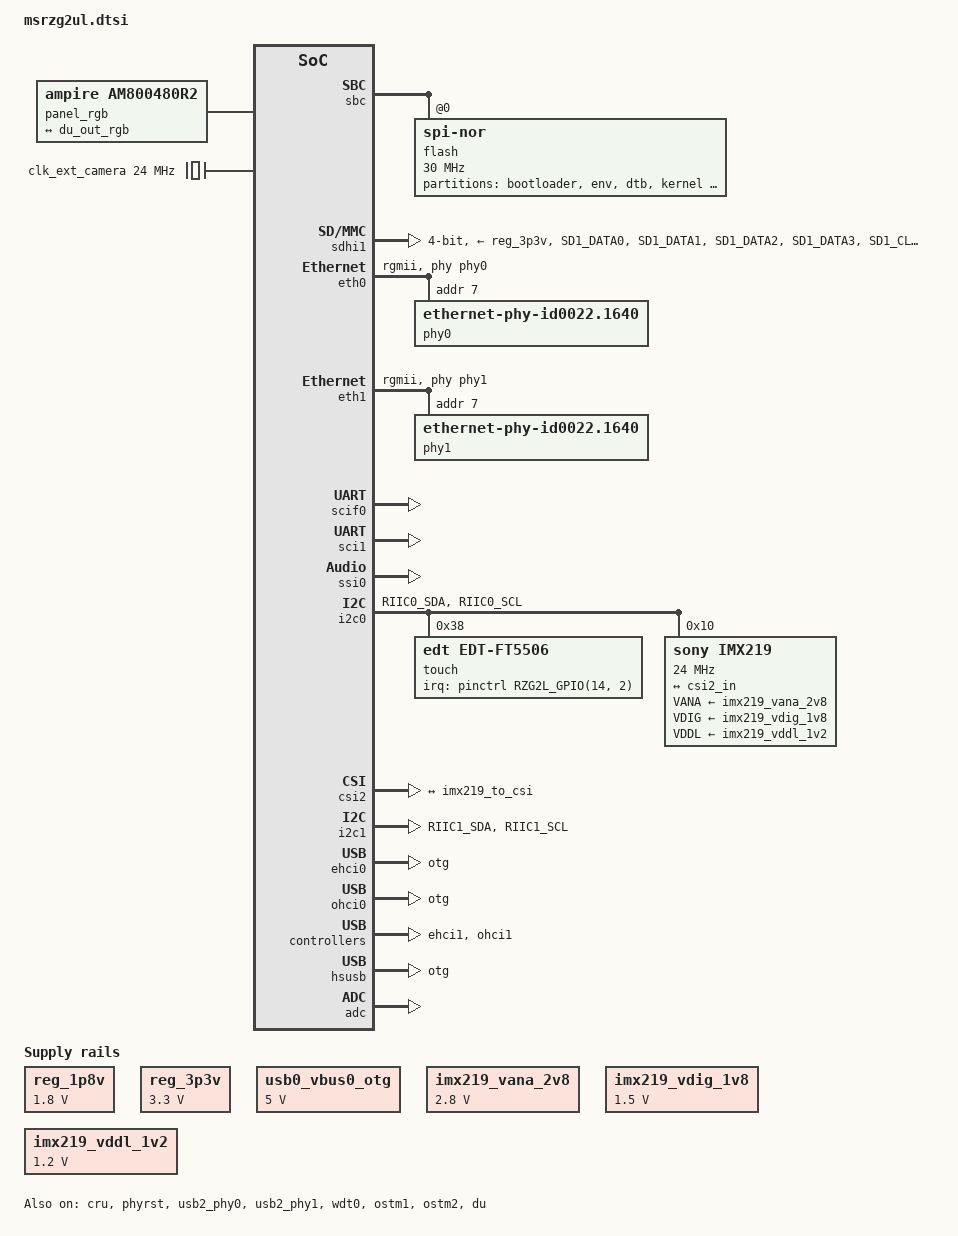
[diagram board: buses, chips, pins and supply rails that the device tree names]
// SPDX-License-Identifier: GPL-2.0
/*
 * Device Tree Source for the MSRZG2UL Single A55 OSM common parts
 *
 * Copyright (C) 2021 Renesas Electronics Corp.
 * Copyright (C) 2023 ARIES Embedded
 */

#include <dt-bindings/pinctrl/rzg2l-pinctrl.h>
#include <dt-bindings/gpio/gpio.h>

/* NOTE: Define as 1 to use hardware Trigger via GPIOA_7 */
#define GPIOA_7_ADC_TRG	0

/ {
	aliases {
		serial0 = &scif0;
		serial1 = &scif1;
		ethernet0 = &eth0;
		ethernet1 = &eth1;
		mmc0 = &sdhi0;
		mmc1 = &sdhi1;
		i2c0 = &i2c0;
		i2c1 = &i2c1;
	};

	chosen {
		bootargs = "ignore_loglevel";
		stdout-path = "serial0:115200n8";
	};

        //backlight: backlight {
        //        compatible = "pwm-backlight";
	//	//pinctrl-0 = <&bl_pins>;
	//	//pinctrl-names = "default";
        //        //pwms = <&mtu3 0 50000>;
        //        //brightness-levels = <0 4 8 16 32 64 128 255>;
        //        //default-brightness-level = <6>;
        //};

	panel_rgb: panel-rgb {
		compatible = "ampire,am800480r2";
		//backlight = <&backlight>;

		port {
			panel_in_rgb: endpoint {
				remote-endpoint = <&du_out_rgb>;
			};
		};
	};

	//mmngr {
	//	compatible = "renesas,mmngr";
	//	memory-region = <&mmp_reserved>;
	//};
	//
	//mmngrbuf {
	//	compatible = "renesas,mmngrbuf";
	//};

	vspm_if {
		compatible = "renesas,vspm_if";
	};

	reg_1p8v: regulator0 {
		compatible = "regulator-fixed";

		regulator-name = "fixed-1.8V";
		regulator-min-microvolt = <1800000>;
		regulator-max-microvolt = <1800000>;
		regulator-boot-on;
		regulator-always-on;
	};

	reg_3p3v: regulator1 {
		compatible = "regulator-fixed";

		regulator-name = "fixed-3.3V";
		regulator-min-microvolt = <3300000>;
		regulator-max-microvolt = <3300000>;
		regulator-boot-on;
		regulator-always-on;
	};

	usb0_vbus0_otg: regulator-vbus0-usb2 {
		compatible = "regulator-fixed";

		regulator-name = "USB20_OTG_VBUS";
		regulator-min-microvolt = <5000000>;
		regulator-max-microvolt = <5000000>;
	};

	imx219_vana_2v8: 2p8v {
		compatible = "regulator-fixed";
		regulator-name = "camera_vana";
		regulator-min-microvolt = <2800000>;
		regulator-max-microvolt = <2800000>;
		regulator-always-on;
	};

	imx219_vdig_1v8: 1p8v {
		compatible = "regulator-fixed";
		regulator-name = "camera_vdig";
		regulator-min-microvolt = <1500000>;
		regulator-max-microvolt = <1500000>;
		regulator-always-on;
	};

	imx219_vddl_1v2: 1p2v {
		compatible = "regulator-fixed";
		regulator-name = "camera_vddl";
		regulator-min-microvolt = <1200000>;
		regulator-max-microvolt = <1200000>;
		regulator-always-on;
	};

	clk_ext_camera: clk_ext_camera {
		compatible = "fixed-clock";
		#clock-cells = <0>;
		clock-frequency = <24000000>;
	};
};

&extal_clk {
	clock-frequency = <24000000>;
};

/* Audio clock frequency configuration - SSI0 requires non-zero frequencies */
&audio_clk1 {
	clock-frequency = <12288000>;  /* 48kHz * 256 for audio I2S */
};

&audio_clk2 {
	clock-frequency = <11289600>;  /* 44.1kHz * 256 for audio I2S */
};

&sbc {
	status = "okay";

	flash@0 {
		compatible = "jedec,spi-nor";
		reg = <0>;
		spi-max-frequency = <30000000>;

		spi-tx-bus-width = <4>;
		spi-rx-bus-width = <4>;

		/* SPI Mode 3 */
		spi-cpol;
		spi-cpha;
		m25p,fast-read;

		partitions {
			compatible = "fixed-partitions";
			#address-cells = <2>;
			#size-cells = <2>;

			partition@0000000 {
				label = "bootloader";
				reg = <0 0x00000000 0 0x00100000>;
			};
			partition@100000 {
				label = "env";
				reg = <0 0x00100000 0 0x00020000>;
			};
			partition@120000 {
				label = "dtb";
				reg = <0 0x00120000 0 0x00020000>;
			};
			partition@140000 {
				label = "kernel";
				reg = <0 0x00140000 0 0x00600000>;
			};
			partition@740000 {
				label = "ramdisk";
				reg = <0 0x00740000 0 0x008C0000>;
			};
		};
	};
};

&sdhi1 {
	pinctrl-0 = <&sdhi1_pins>;
	pinctrl-1 = <&sdhi1_pins>;
	pinctrl-names = "default", "state_uhs";

	vmmc-supply = <&reg_3p3v>;
	vqmmc-supply = <&reg_3p3v>;

	bus-width = <4>;
	status = "okay";
};

&eth0 {
	pinctrl-0 = <&ether0_pins>;
	pinctrl-names = "default";
	phy-handle = <&phy0>;
	phy-mode = "rgmii";
	status = "okay";

	phy0: ethernet-phy@7 {
		compatible = "ethernet-phy-id0022.1640",
				"ethernet-phy-ieee802.3-c22";
		reg = <7>;
		rxc-skew-psec = <2400>;
		txc-skew-psec = <2400>;
		rxdv-skew-psec = <0>;
		txdv-skew-psec = <0>;
		rxd0-skew-psec = <0>;
		rxd1-skew-psec = <0>;
		rxd2-skew-psec = <0>;
		rxd3-skew-psec = <0>;
		txd0-skew-psec = <0>;
		txd1-skew-psec = <0>;
		txd2-skew-psec = <0>;
		txd3-skew-psec = <0>;
	};
};

&eth1 {
	pinctrl-0 = <&ether1_pins>;
	pinctrl-names = "default";
	phy-handle = <&phy1>;
	phy-mode = "rgmii";
	status = "okay";

	phy1: ethernet-phy@7 {
		compatible = "ethernet-phy-id0022.1640",
				"ethernet-phy-ieee802.3-c22";
		reg = <7>;
		rxc-skew-psec = <2400>;
		txc-skew-psec = <2400>;
		rxdv-skew-psec = <0>;
		txdv-skew-psec = <0>;
		rxd0-skew-psec = <0>;
		rxd1-skew-psec = <0>;
		rxd2-skew-psec = <0>;
		rxd3-skew-psec = <0>;
		txd0-skew-psec = <0>;
		txd1-skew-psec = <0>;
		txd2-skew-psec = <0>;
		txd3-skew-psec = <0>;
	};
};

&scif0 {
	pinctrl-0 = <&scif0_pins>;
	pinctrl-names = "default";
	status = "okay";
};

&scif1 {
	pinctrl-0 = <&scif1_pins>;
	pinctrl-names = "default";
	status = "disabled";
};

&sci1 {
	pinctrl-0 = <&sci1_pins>;
	pinctrl-names = "default";
	status = "okay";
};

&ssi0 {
	pinctrl-0 = <&ssi0_pins>;
	pinctrl-names = "default";
	status = "okay";
};

&i2c0 {
	pinctrl-0 = <&i2c0_pins>;
	pinctrl-names = "default";
	status = "okay";

	touch: ft5426@38 {
		compatible = "edt,edt-ft5506";
		reg = <0x38>;
		//pinctrl-0 = <&touch_pins>;
		//pinctrl-names = "default";
		interrupt-parent = <&pinctrl>;
		interrupts = <RZG2L_GPIO(14, 2) IRQ_TYPE_EDGE_FALLING>; /* P14_2 */
		touchscreen-size-x = <800>;
		touchscreen-size-y = <480>;
		status = "okay";
	};

	imx219: camera@10 {
		compatible = "sony,imx219";
		reg = <0x10>;
		clock-names = "xclk";
		clocks = <&clk_ext_camera>;
		clock-frequency = <24000000>;
		VANA-supply = <&imx219_vana_2v8>;
		VDIG-supply = <&imx219_vdig_1v8>;
		VDDL-supply = <&imx219_vddl_1v2>;

		port {
			imx219_to_csi: endpoint {
				clock-lanes = <0>;
				data-lanes = <1 2>;
				link-frequencies = /bits/ 64 <456000000>;
				remote-endpoint = <&csi2_in>;
			};
		};
	};
};


&cru {
	status = "okay";
};

&csi2 {
	status = "okay";

	ports {
		port@0 {
			reg = <0>;
			csi2_in: endpoint {
				clock-lanes = <0>;
				data-lanes = <1 2>;
				remote-endpoint = <&imx219_to_csi>;
			};
		};
	};
};

&i2c1 {
	pinctrl-0 = <&i2c1_pins>;
	pinctrl-names = "default";
	status = "okay";
};

&ehci0 {
	dr_mode = "otg";
	status = "okay";
};

&ohci0 {
	dr_mode = "otg";
	status = "okay";
};

&ehci1 {
	status = "okay";
};

&ohci1 {
	status = "okay";
};

&hsusb {
	dr_mode = "otg";
	status = "okay";
};

&phyrst {
	status = "okay";
};

&usb2_phy0 {
	pinctrl-0 = <&usb0_pins>;
	pinctrl-names = "default";
	vbus-supply = <&usb0_vbus0_otg>;
	status = "okay";
};

&usb2_phy1 {
	pinctrl-0 = <&usb1_pins>;
	pinctrl-names = "default";
	status = "okay";
};

&adc {
#if GPIOA_7_ADC_TRG
	pinctrl-0 = <&adc_pins>;
	pinctrl-names = "default";
#endif
	status = "okay";
};

//&mtu3 {
//	pinctrl-0 = <&mtu3_pins>;
//	pinctrl-names = "default";
//	status = "okay";
//
//	pwm_mode1 = <2 0>;
//};

&wdt0 {
	status = "okay";
	timeout-sec = <60>;
};

&ostm1 {
	status = "okay";
};

&ostm2 {
	status = "okay";
};

&du {
	pinctrl-0 = <&du_pins>;
	pinctrl-names = "default";
	status = "okay";

	ports {
		port@0 {
			du_out_rgb: endpoint {
				remote-endpoint = <&panel_in_rgb>;
			};
		};
	};
};

&pinctrl {
	//sd1_pwr_en {
	//	gpio-hog;
	//	gpios = <RZG2L_GPIO(11, 2) GPIO_ACTIVE_HIGH>;
	//	output-high;
	//	line-name = "sd1_pwr_en";
	//};

	sdhi1_pins: sd1 {
		sd1_data {
			pins =	"SD1_DATA0", "SD1_DATA1", "SD1_DATA2",
				"SD1_DATA3";
			power-source  = <3300>;
		};

		sd1_ctrl {
			pins = "SD1_CLK", "SD1_CMD";
			power-source  = <3300>;
		};

		sd1_mux {
			pinmux = <RZG2L_PORT_PINMUX(0, 2, 1)>; /* SD1_CD */
		};
	};

	ether0_pins: eth0 {
		pinmux =
			<RZG2L_PORT_PINMUX(1, 0, 1)>, /* M2 ET0_TXC */
			<RZG2L_PORT_PINMUX(1, 1, 1)>, /* M1 ET0_TX_CTL */
			<RZG2L_PORT_PINMUX(1, 2, 1)>, /* L1 ET0_TXD0 */
			<RZG2L_PORT_PINMUX(1, 3, 1)>, /* L2 ET0_TXD1 */
			<RZG2L_PORT_PINMUX(1, 4, 1)>, /* K1 ET0_TXD2 */
			<RZG2L_PORT_PINMUX(2, 0, 1)>, /* K2 ET0_TXD3 */
			<RZG2L_PORT_PINMUX(2, 1, 1)>, /* K6 ET0_TX_ERR */
			<RZG2L_PORT_PINMUX(2, 2, 1)>, /* M3* ET0_TX_COL */
			<RZG2L_PORT_PINMUX(2, 3, 1)>, /* M6* ET0_TX_CRS */
			<RZG2L_PORT_PINMUX(3, 0, 1)>, /* N3 ET0_RXC */
			<RZG2L_PORT_PINMUX(3, 1, 1)>, /* N1 ET0_RX_CTL */
			<RZG2L_PORT_PINMUX(3, 2, 1)>, /* P2 ET0_RXD0 */
			<RZG2L_PORT_PINMUX(3, 3, 1)>, /* R3 ET0_RXD1 */
			<RZG2L_PORT_PINMUX(4, 0, 1)>, /* R2 ET0_RXD2 */
			<RZG2L_PORT_PINMUX(4, 1, 1)>, /* R1 ET0_RXD3 */
			<RZG2L_PORT_PINMUX(4, 2, 1)>, /* N2 ET0_RX_ERR */
			<RZG2L_PORT_PINMUX(4, 3, 1)>, /* T3 ET0_MDC */
			<RZG2L_PORT_PINMUX(4, 4, 1)>, /* T2 ET0_MDIO */
			<RZG2L_PORT_PINMUX(4, 5, 1)>; /* P1 ET0_LINKSTA */
	};

	ether1_pins: eth1 {
		pinmux =
			<RZG2L_PORT_PINMUX(7, 0, 1)>, /* AE18 ET1_TXC */
			<RZG2L_PORT_PINMUX(7, 1, 1)>, /* AD17 ET1_TX_CTL */
			<RZG2L_PORT_PINMUX(7, 2, 1)>, /* AD16 ET1_TXD0 */
			<RZG2L_PORT_PINMUX(7, 3, 1)>, /* AE16 ET1_TXD1 */
			<RZG2L_PORT_PINMUX(7, 4, 1)>, /* AD15 ET1_TXD2 */
			<RZG2L_PORT_PINMUX(8, 0, 1)>, /* AE15 ET1_TXD3 */
			<RZG2L_PORT_PINMUX(8, 1, 1)>, /* AE17 ET1_TX_ERR */
			<RZG2L_PORT_PINMUX(8, 2, 1)>, /* AC16 ET1_TX_COL */
			<RZG2L_PORT_PINMUX(8, 3, 1)>, /* AC15 ET1_TX_CRS */
			<RZG2L_PORT_PINMUX(8, 4, 1)>, /* AC17 ET1_RXC */
			<RZG2L_PORT_PINMUX(9, 0, 1)>, /* AC18 ET1_RX_CTL */
			<RZG2L_PORT_PINMUX(9, 1, 1)>, /* AE19 ET1_RXD0 */
			<RZG2L_PORT_PINMUX(9, 2, 1)>, /* AD19 ET1_RXD1 */
			<RZG2L_PORT_PINMUX(9, 3, 1)>, /* AE20 ET1_RXD2 */
			<RZG2L_PORT_PINMUX(10, 0, 1)>, /* AD20 ET1_RXD3 */
			<RZG2L_PORT_PINMUX(10, 1, 1)>, /* AD18 ET1_RX_ERR */
			<RZG2L_PORT_PINMUX(10, 2, 1)>, /* AC20 ET1_MDC */
			<RZG2L_PORT_PINMUX(10, 3, 1)>, /* AE21 ET1_MDIO */
			<RZG2L_PORT_PINMUX(10, 4, 1)>; /* AC19 ET1_LINKSTA */
	};

	scif0_pins: scif0 {
		pinmux =
			<RZG2L_PORT_PINMUX(6, 3, 6)>, /* RxD */
			<RZG2L_PORT_PINMUX(6, 4, 6)>; /* TxD */
	};

	scif1_pins: scif1 {
		pinmux =
			<RZG2L_PORT_PINMUX(18, 4, 6)>, /* TxD */
			<RZG2L_PORT_PINMUX(18, 5, 6)>; /* RxD */
	};

	i2c0_pins: i2c0 {
		pins = "RIIC0_SDA", "RIIC0_SCL";
		input-enable;
	};

	i2c1_pins: i2c1 {
		pins = "RIIC1_SDA", "RIIC1_SCL";
		input-enable;
	};

	usb0_pins: usb0 {
		pinmux =
			<RZG2L_PORT_PINMUX(5, 0, 1)>, /* VBUS_EN */
			<RZG2L_PORT_PINMUX(5, 2, 1)>, /* OVC */
			<RZG2L_PORT_PINMUX(5, 3, 1)>; /* OTG_ID */
	};

	usb1_pins: usb1 {
		pinmux =
			<RZG2L_PORT_PINMUX(6, 0, 1)>, /* VBUS_EN */
			<RZG2L_PORT_PINMUX(6, 1, 1)>; /* OVC */
	};

	adc_pins: adc {
		pinmux = <RZG2L_PORT_PINMUX(5, 1, 4)>; /* ADC_TRG */
	};

	//touch_pins: touch {
	//	pinmux = <RZG2L_PORT_PINMUX(11, 2, 0)>; /* IRQ */
	//};

	// Unused pins
	// <RZG2L_PORT_PINMUX(11, 2, 6)>,/* DISP_DATA0 */
	// <RZG2L_PORT_PINMUX(13, 1, 6)>,/* DISP_DATA1 */
	// <RZG2L_PORT_PINMUX(14, 2, 6)>,/* DISP_DATA8 */
	// <RZG2L_PORT_PINMUX(14, 1, 6)>,/* DISP_DATA9 */
	// <RZG2L_PORT_PINMUX(15, 2, 6)>,/* DISP_DATA16 */
	// <RZG2L_PORT_PINMUX(17, 0, 6)>,/* DISP_DATA17 */

	du_pins: du {
		data {
			pinmux = <RZG2L_PORT_PINMUX(13, 0, 6)>,/* DISP_DATA2 */
				 <RZG2L_PORT_PINMUX(13, 4, 6)>,/* DISP_DATA3 */
				 <RZG2L_PORT_PINMUX(13, 3, 6)>,/* DISP_DATA4 */
				 <RZG2L_PORT_PINMUX(12, 1, 6)>,/* DISP_DATA5 */
				 <RZG2L_PORT_PINMUX(13, 2, 6)>,/* DISP_DATA6 */
				 <RZG2L_PORT_PINMUX(14, 0, 6)>,/* DISP_DATA7 */
				 <RZG2L_PORT_PINMUX(16, 0, 6)>,/* DISP_DATA10 */
				 <RZG2L_PORT_PINMUX(15, 0, 6)>,/* DISP_DATA11 */
				 <RZG2L_PORT_PINMUX(16, 1, 6)>,/* DISP_DATA12 */
				 <RZG2L_PORT_PINMUX(15, 1, 6)>,/* DISP_DATA13 */
				 <RZG2L_PORT_PINMUX(15, 3, 6)>,/* DISP_DATA14 */
				 <RZG2L_PORT_PINMUX(18, 0, 6)>,/* DISP_DATA15 */
				 <RZG2L_PORT_PINMUX(17, 2, 6)>,/* DISP_DATA18 */
				 <RZG2L_PORT_PINMUX(17, 1, 6)>,/* DISP_DATA19 */
				 <RZG2L_PORT_PINMUX(18, 1, 6)>,/* DISP_DATA20 */
				 <RZG2L_PORT_PINMUX(18, 2, 6)>,/* DISP_DATA21 */
				 <RZG2L_PORT_PINMUX(17, 3, 6)>,/* DISP_DATA22 */
				 <RZG2L_PORT_PINMUX(18, 3, 6)>;/* DISP_DATA23 */
			drive-strength = <2>;
		};

		sync {
			pinmux = <RZG2L_PORT_PINMUX(11, 0, 6)>, /* HSYNC */
				 <RZG2L_PORT_PINMUX(12, 0, 6)>; /* VSYNC */
			drive-strength = <2>;
		};

		de {
			pinmux = <RZG2L_PORT_PINMUX(11, 1, 6)>; /* DE */
			drive-strength = <2>;
		};

		clk {
			pinmux = <RZG2L_PORT_PINMUX(11, 3, 6)>; /* CLK */
		};
	};

	//mtu3_pins: mtu3 {
	//	pinmux = <RZG2L_PORT_PINMUX(4, 0, 4)>; /* MTIOC2A */
	//};

};
